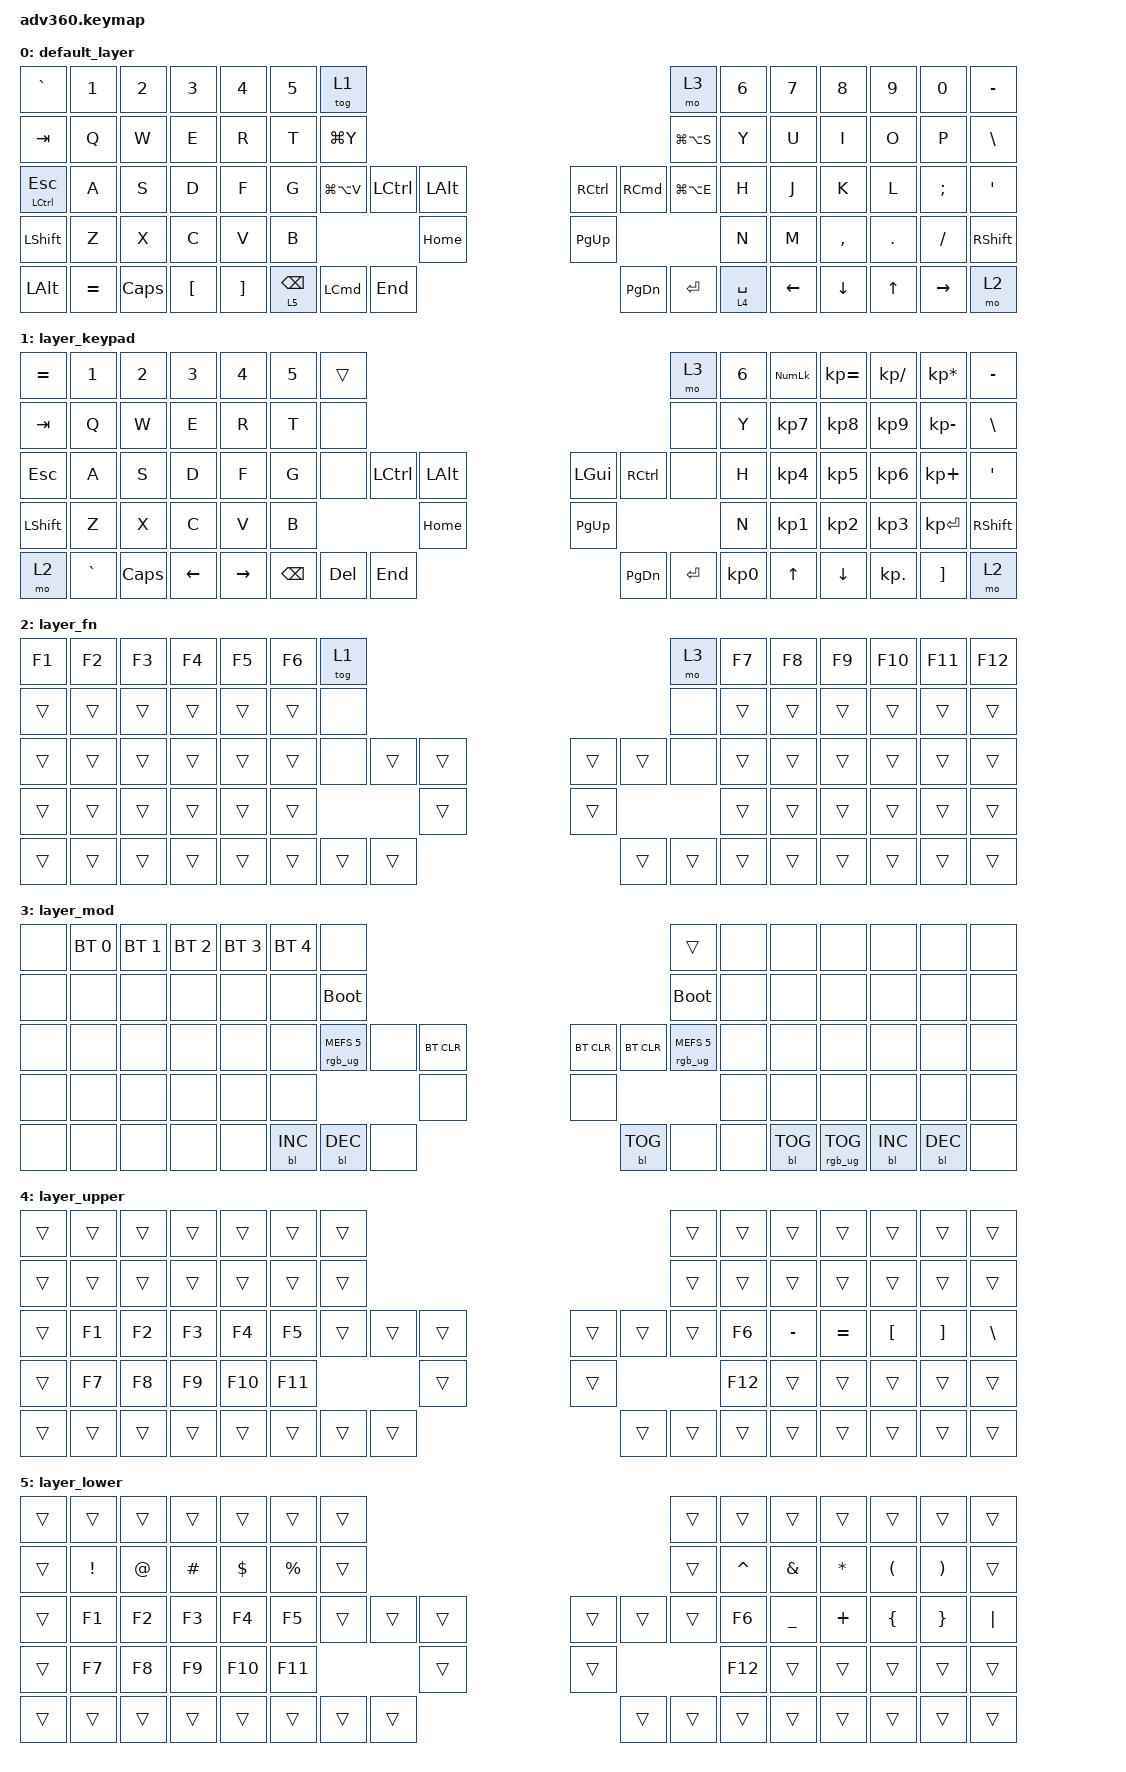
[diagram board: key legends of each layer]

/*
 * Copyright (c) 2020 The ZMK Contributors
 *
 * SPDX-License-Identifier: MIT
 */


/* THIS FILE WAS GENERATED!
 *
 * This file was generated automatically. You may or may not want to
 * edit it directly.
 */

#include <behaviors.dtsi>
#include <dt-bindings/zmk/keys.h>
#include <dt-bindings/zmk/bt.h>
#include <dt-bindings/zmk/rgb.h>
#include <dt-bindings/zmk/backlight.h>

/ {
  behaviors {
    #include "macros.dtsi"
    #include "version.dtsi"

    hm: homerow_mods {
        compatible = "zmk,behavior-hold-tap";
        label = "HOMEROW_MODS";
        #binding-cells = <2>;
        tapping-term-ms = <200>;
        quick_tap_ms = <175>;
        flavor = "tap-preferred";
        bindings = <&kp>, <&kp>;
    };
  };

    keymap {
        compatible = "zmk,keymap";


        default_layer {
            bindings = <
     &kp GRAVE     &kp N1    &kp N2            &kp N3             &kp N4  &kp N5                     &tog 1                                                                                 &mo 3  &kp N6    &kp N7     &kp N8   &kp N9     &kp N0  &kp MINUS
       &kp TAB      &kp Q     &kp W             &kp E              &kp R   &kp T                  &kp LG(Y)                                                                         &kp LG(LA(S))   &kp Y     &kp U      &kp I    &kp O      &kp P   &kp BSLH
 &mt LCTRL ESC      &kp A     &kp S             &kp D              &kp F   &kp G              &kp LG(LA(V))  &kp LCTRL  &kp LALT                      &kp RCTRL  &kp RIGHT_COMMAND  &kp LG(LA(E))   &kp H     &kp J      &kp K    &kp L   &kp SEMI    &kp SQT
     &kp LSHFT      &kp Z     &kp X             &kp C              &kp V   &kp B                                        &kp HOME                      &kp PG_UP                                     &kp N     &kp M  &kp COMMA  &kp DOT   &kp FSLH  &kp RSHFT
      &kp LALT  &kp EQUAL  &kp CAPS  &kp LEFT_BRACKET  &kp RIGHT_BRACKET                    &lt 5 BACKSPACE   &kp LCMD   &kp END                  &kp PAGE_DOWN          &kp ENTER    &lt 4 SPACE          &kp LEFT   &kp DOWN   &kp UP  &kp RIGHT      &mo 2
            >;
        };

        layer_keypad {
            bindings = <
 &kp EQUAL     &kp N1    &kp N2    &kp N3     &kp N4  &kp N5              &trans                                                                 &mo 3  &kp N6  &kp KP_NUM  &kp KP_EQUAL  &kp KP_DIVIDE  &kp KP_MULTIPLY  &kp MINUS
   &kp TAB      &kp Q     &kp W     &kp E      &kp R   &kp T               &none                                                                 &none   &kp Y   &kp KP_N7     &kp KP_N8      &kp KP_N9     &kp KP_MINUS   &kp BSLH
   &kp ESC      &kp A     &kp S     &kp D      &kp F   &kp G               &none  &kp LCTRL  &kp LALT                   &kp LGUI  &kp RCTRL      &none   &kp H   &kp KP_N4     &kp KP_N5      &kp KP_N6      &kp KP_PLUS    &kp SQT
 &kp LSHFT      &kp Z     &kp X     &kp C      &kp V   &kp B                                 &kp HOME                  &kp PG_UP                         &kp N   &kp KP_N1     &kp KP_N2      &kp KP_N3     &kp KP_ENTER  &kp RSHFT
     &mo 2  &kp GRAVE  &kp CAPS  &kp LEFT  &kp RIGHT                    &kp BSPC    &kp DEL   &kp END                  &kp PG_DN  &kp ENTER  &kp KP_N0              &kp UP      &kp DOWN     &kp KP_DOT         &kp RBKT      &mo 2
            >;
        };

        layer_fn {
            bindings = <
 &kp F1  &kp F2  &kp F3  &kp F4  &kp F5  &kp F6            &tog 1                                                   &mo 3  &kp F7  &kp F8  &kp F9  &kp F10  &kp F11  &kp F12
 &trans  &trans  &trans  &trans  &trans  &trans             &none                                                   &none  &trans  &trans  &trans   &trans   &trans   &trans
 &trans  &trans  &trans  &trans  &trans  &trans             &none  &trans  &trans                  &trans  &trans   &none  &trans  &trans  &trans   &trans   &trans   &trans
 &trans  &trans  &trans  &trans  &trans  &trans                            &trans                  &trans                  &trans  &trans  &trans   &trans   &trans   &trans
 &trans  &trans  &trans  &trans  &trans                    &trans  &trans  &trans                  &trans  &trans  &trans          &trans  &trans   &trans   &trans   &trans
            >;
        };

        layer_mod {
            bindings = <
  &none  &bt BT_SEL 0  &bt BT_SEL 1  &bt BT_SEL 2  &bt BT_SEL 3  &bt BT_SEL 4                             &none                                                                                  &trans   &none       &none            &none       &none       &none   &none
  &none         &none         &none         &none         &none         &none                       &bootloader                                                                             &bootloader   &none       &none            &none       &none       &none   &none
  &none         &none         &none         &none         &none         &none            &rgb_ug RGB_MEFS_CMD 5       &none  &bt BT_CLR                  &bt BT_CLR  &bt BT_CLR  &rgb_ug RGB_MEFS_CMD 5   &none       &none            &none       &none       &none   &none
  &none         &none         &none         &none         &none         &none                                                     &none                       &none                                       &none       &none            &none       &none       &none   &none
  &none         &none         &none         &none         &none                                      &bl BL_INC  &bl BL_DEC       &none                  &bl BL_TOG       &none                   &none          &bl BL_TOG  &rgb_ug RGB_TOG  &bl BL_INC  &bl BL_DEC   &none
            >;
        };

        layer_upper {
            bindings = <
 &trans  &trans  &trans  &trans   &trans   &trans            &trans                                                  &trans   &trans     &trans     &trans            &trans             &trans    &trans
 &trans  &trans  &trans  &trans   &trans   &trans            &trans                                                  &trans   &trans     &trans     &trans            &trans             &trans    &trans
 &trans  &kp F1  &kp F2  &kp F3   &kp F4   &kp F5            &trans  &trans  &trans                  &trans  &trans  &trans   &kp F6  &kp MINUS  &kp EQUAL  &kp LEFT_BRACKET  &kp RIGHT_BRACKET  &kp BSLH
 &trans  &kp F7  &kp F8  &kp F9  &kp F10  &kp F11                            &trans                  &trans                  &kp F12     &trans     &trans            &trans             &trans    &trans
 &trans  &trans  &trans  &trans   &trans                     &trans  &trans  &trans                  &trans  &trans  &trans              &trans     &trans            &trans             &trans    &trans
            >;
        };

        layer_lower {
            bindings = <
 &trans    &trans  &trans     &trans      &trans       &trans            &trans                                                  &trans     &trans     &trans     &trans          &trans           &trans    &trans
 &trans  &kp EXCL  &kp AT  &kp POUND  &kp DOLLAR  &kp PERCENT            &trans                                                  &trans  &kp CARET   &kp AMPS  &kp ASTRK        &kp LPAR         &kp RPAR    &trans
 &trans    &kp F1  &kp F2     &kp F3      &kp F4       &kp F5            &trans  &trans  &trans                  &trans  &trans  &trans     &kp F6  &kp UNDER   &kp PLUS  &kp LEFT_BRACE  &kp RIGHT_BRACE  &kp PIPE
 &trans    &kp F7  &kp F8     &kp F9     &kp F10      &kp F11                            &trans                  &trans                    &kp F12     &trans     &trans          &trans           &trans    &trans
 &trans    &trans  &trans     &trans      &trans                         &trans  &trans  &trans                  &trans  &trans  &trans                &trans     &trans          &trans           &trans    &trans
            >;
        };

    };
};
